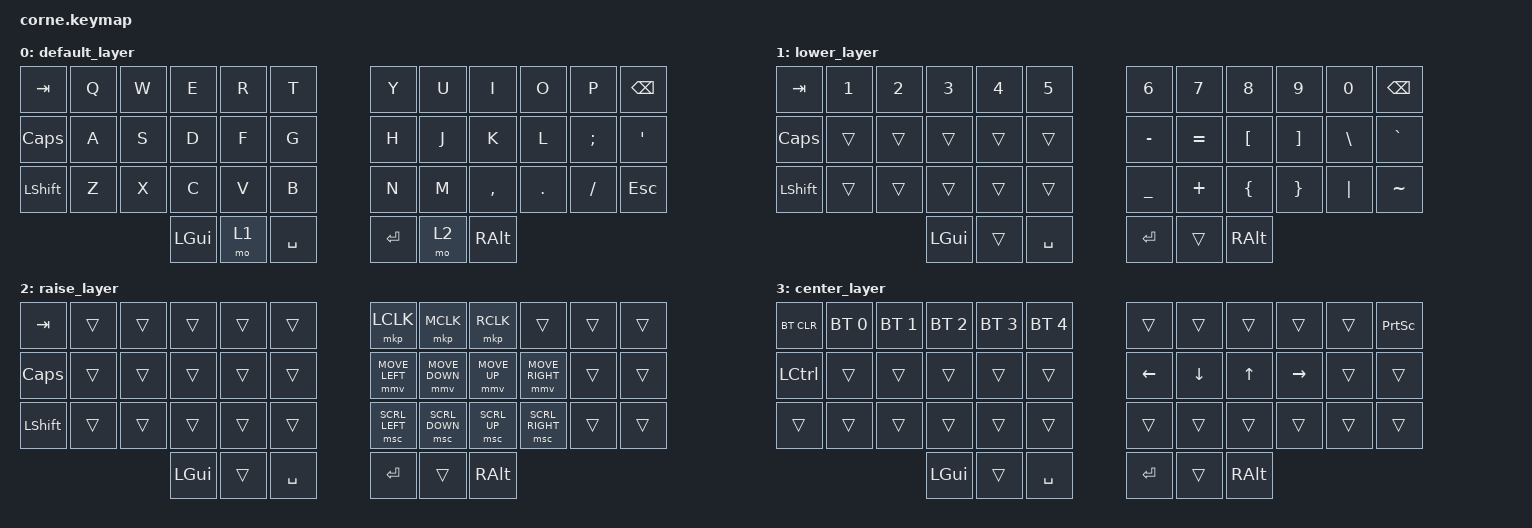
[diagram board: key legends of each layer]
/*
 * Copyright (c) 2020 The ZMK Contributors
 *
 * SPDX-License-Identifier: MIT
 */

#include <behaviors.dtsi>
#include <dt-bindings/zmk/keys.h>
#include <dt-bindings/zmk/bt.h>

#define ZMK_POINTING_DEFAULT_MOVE_VAL 600  // default: 600
#define ZMK_POINTING_DEFAULT_SCRL_VAL 10    // default: 10
#include <dt-bindings/zmk/pointing.h>

/ {
        keymap {
                compatible = "zmk,keymap";

                default_layer {
// -----------------------------------------------------------------------------------------
// |  TAB |  Q  |  W  |  E  |  R  |  T  |   |  Y  |  U   |  I  |  O  |  P  | BSPC |
// | CAPS |  A  |  S  |  D  |  F  |  G  |   |  H  |  J   |  K  |  L  |  ;  |  '   |
// | SHFT |  Z  |  X  |  C  |  V  |  B  |   |  N  |  M   |  ,  |  .  |  /  | ESC  |
//                    | GUI | LWR | SPC |   | ENT | RSE  | ALT |
                        bindings = <
   &kp TAB   &kp Q &kp W &kp E &kp R &kp T   &kp Y &kp U  &kp I     &kp O   &kp P    &kp BSPC
   &kp CAPS &kp A &kp S &kp D &kp F &kp G   &kp H &kp J  &kp K     &kp L   &kp SEMI &kp SQT
   &kp LSHFT &kp Z &kp X &kp C &kp V &kp B   &kp N &kp M  &kp COMMA &kp DOT &kp FSLH &kp ESC
                  &kp LGUI &mo 1 &kp SPACE   &kp RET &mo 2 &kp RALT
                        >;
                };
                lower_layer {
// -----------------------------------------------------------------------------------------
// |  TAB |  1  |  2  |  3  |  4  |  5  |   |  6  |  7  |  8  |  9  |  0  | BSPC |
// | CTRL |     |     |     |     |     |   |  -  |  =  |  [  |  ]  |  \  |  `   |
// | SHFT |     |     |     |     |     |   |  _  |  +  |  {  |  }  | "|" |  ~   |
//                    | GUI |     | SPC |   | ENT |     | ALT |
                        bindings = <
   &kp TAB    &kp N1       &kp N2       &kp N3       &kp N4       &kp N5         &kp N6   &kp N7   &kp N8 &kp N9    &kp N0 &kp BSPC
   &kp CAPS &trans   &trans &trans   &trans   &trans      &kp MINUS &kp EQUAL &kp LBKT  &kp RBKT &kp BSLH &kp GRAVE
   &kp LSHFT &trans   &trans &trans   &trans   &trans      &kp UNDER &kp PLUS  &kp LBRC  &kp RBRC &kp PIPE &kp TILDE
                                    &kp LGUI     &trans       &kp SPACE      &kp RET  &trans   &kp RALT
                        >;
                };

                raise_layer {
// -----------------------------------------------------------------------------------------
// |  TAB |  !  |  @  |  #  |  $  |  %  |   |  ^  |  &  |  *  |  (  |  )  | BSPC |
//                    | GUI |     | SPC |   | ENT |     | ALT |
                        bindings = <
   &kp TAB &trans   &trans &trans   &trans   &trans      &mkp LCLK &mkp MCLK  &mkp RCLK  &trans &trans &trans
   &kp CAPS &trans   &trans &trans &trans &trans    &mmv MOVE_LEFT &mmv MOVE_DOWN &mmv MOVE_UP  &mmv MOVE_RIGHT &trans &trans
   &kp LSHFT &trans   &trans &trans   &trans   &trans      &msc SCRL_LEFT &msc SCRL_DOWN  &msc SCRL_UP  &msc SCRL_RIGHT &trans &trans
                             &kp LGUI &trans   &kp SPACE   &kp RET   &trans    &kp RALT
                        >;
                };

                center_layer {
                        bindings = <
   &bt BT_CLR &bt BT_SEL 0 &bt BT_SEL 1 &bt BT_SEL 2 &bt BT_SEL 3 &bt BT_SEL 4    &trans &trans &trans  &trans &trans &kp PSCRN
   &kp LCTRL &trans &trans &trans &trans &trans    &kp LEFT &kp DOWN   &kp UP   &kp RIGHT  &trans &trans
   &trans    &trans   &trans &trans   &trans   &trans      &trans &trans &trans  &trans &trans &trans
                             &kp LGUI &trans   &kp SPACE   &kp RET   &trans    &kp RALT
                        >;
                };
        };
        conditional_layers {
            compatible = "zmk,conditional-layers";
            tri_layer {
                if-layers = <1 2>;
                then-layer = <3>;
            };
        };
};
